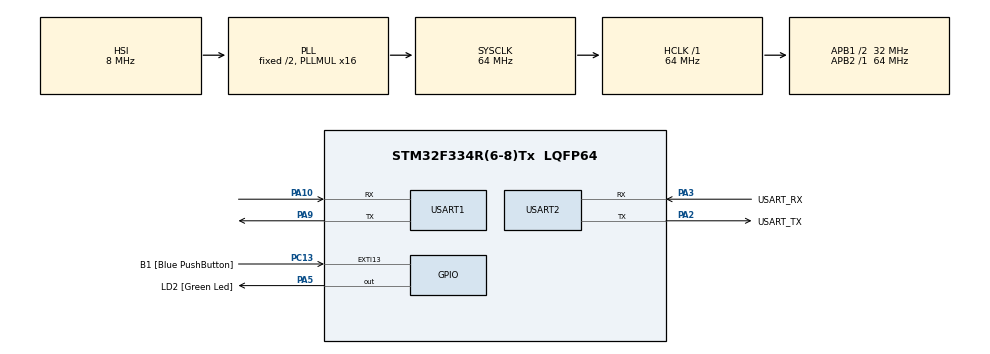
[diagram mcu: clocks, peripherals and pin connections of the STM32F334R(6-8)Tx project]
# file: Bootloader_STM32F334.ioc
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Mcu.Family=STM32F3
Mcu.Name=STM32F334R(6-8)Tx
Mcu.Package=LQFP64
NVIC.PriorityGroup=NVIC_PRIORITYGROUP_0
PA10.Mode=Asynchronous
PA10.Signal=USART1_RX
PA13.GPIO_Label=TMS
PA13.Mode=Serial_Wire
PA13.Signal=SYS_JTMS-SWDIO
PA14.GPIO_Label=TCK
PA14.Mode=Serial_Wire
PA14.Signal=SYS_JTCK-SWCLK
PA2.GPIO_Label=USART_TX
PA2.Mode=Asynchronous
PA2.Signal=USART2_TX
PA3.GPIO_Label=USART_RX
PA3.Mode=Asynchronous
PA3.Signal=USART2_RX
PA5.GPIO_Label=LD2 [Green Led]
PA5.Signal=GPIO_Output
PA9.Mode=Asynchronous
PA9.Signal=USART1_TX
PB3.GPIO_Label=SWO
PB3.Signal=SYS_JTDO-TRACESWO
PC13.GPIO_Label=B1 [Blue PushButton]
PC13.GPIO_ModeDefaultEXTI=GPIO_MODE_IT_FALLING
PC13.Signal=GPXTI13
PC14\ /\ OSC32_IN.Signal=RCC_OSC32_IN
PC15\ /\ OSC32_OUT.GPIO_Label=RCC_OSC32_OUT
PC15\ /\ OSC32_OUT.Signal=RCC_OSC32_OUT
PF0\ /\ OSC_IN.Signal=RCC_OSC_IN
PF1\ /\ OSC_OUT.Signal=RCC_OSC_OUT
ProjectManager.HeapSize=0x200
ProjectManager.StackSize=0x400
ProjectManager.TargetToolchain=SW4STM32
RCC.AHBFreq_Value=64000000
RCC.APB1CLKDivider=RCC_HCLK_DIV2
RCC.APB1Freq_Value=32000000
RCC.APB1TimFreq_Value=64000000
RCC.APB2Freq_Value=64000000
RCC.APB2TimFreq_Value=64000000
RCC.CortexFreq_Value=64000000
RCC.FLatency-AdvancedSettings=FLASH_LATENCY_2
RCC.HCLKFreq_Value=64000000
RCC.HSE_VALUE=8000000
RCC.HSI_VALUE=8000000
RCC.PLLMUL=RCC_PLL_MUL16
RCC.SYSCLKFreq_VALUE=64000000
RCC.SYSCLKSourceVirtual=RCC_SYSCLKSOURCE_PLLCLK
USART1.VirtualMode-Asynchronous=VM_ASYNC
USART2.VirtualMode-Asynchronous=VM_ASYNC
VP_CRC_VS_CRC.Mode=CRC_Activate
board=NUCLEO-F334R8

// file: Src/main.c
/**
  ******************************************************************************
  * @file           : main.c
  * @brief          : Main program body
  ******************************************************************************
  ** This notice applies to any and all portions of this file
  * that are not between comment pairs USER CODE BEGIN and
  * USER CODE END. Other portions of this file, whether
  * inserted by the user or by software development tools
  * are owned by their respective copyright owners.
  *
  * COPYRIGHT(c) 2020 STMicroelectronics
  *
  * Redistribution and use in source and binary forms, with or without modification,
  * are permitted provided that the following conditions are met:
  *   1. Redistributions of source code must retain the above copyright notice,
  *      this list of conditions and the following disclaimer.
  *   2. Redistributions in binary form must reproduce the above copyright notice,
  *      this list of conditions and the following disclaimer in the documentation
  *      and/or other materials provided with the distribution.
  *   3. Neither the name of STMicroelectronics nor the names of its contributors
  *      may be used to endorse or promote products derived from this software
  *      without specific prior written permission.
  *
  * THIS SOFTWARE IS PROVIDED BY THE COPYRIGHT HOLDERS AND CONTRIBUTORS "AS IS"
  * AND ANY EXPRESS OR IMPLIED WARRANTIES, INCLUDING, BUT NOT LIMITED TO, THE
  * IMPLIED WARRANTIES OF MERCHANTABILITY AND FITNESS FOR A PARTICULAR PURPOSE ARE
  * DISCLAIMED. IN NO EVENT SHALL THE COPYRIGHT HOLDER OR CONTRIBUTORS BE LIABLE
  * FOR ANY DIRECT, INDIRECT, INCIDENTAL, SPECIAL, EXEMPLARY, OR CONSEQUENTIAL
  * DAMAGES (INCLUDING, BUT NOT LIMITED TO, PROCUREMENT OF SUBSTITUTE GOODS OR
  * SERVICES; LOSS OF USE, DATA, OR PROFITS; OR BUSINESS INTERRUPTION) HOWEVER
  * CAUSED AND ON ANY THEORY OF LIABILITY, WHETHER IN CONTRACT, STRICT LIABILITY,
  * OR TORT (INCLUDING NEGLIGENCE OR OTHERWISE) ARISING IN ANY WAY OUT OF THE USE
  * OF THIS SOFTWARE, EVEN IF ADVISED OF THE POSSIBILITY OF SUCH DAMAGE.
  *
  ******************************************************************************
  */
#include <stdarg.h>
#include <string.h>
#include <stdint.h>

/* USER CODE BEGIN Includes */
#include "main.h"
#include "stm32f3xx_hal.h"
/* USER CODE END Includes */

// Enable this line to get debug messages over debug UART
#define BL_DEBUG_MSG_EN

CRC_HandleTypeDef hcrc;

UART_HandleTypeDef huart1;
UART_HandleTypeDef huart2;

/* USER CODE BEGIN PV */
/* Private variables ---------------------------------------------------------*/
uint8_t supported_commands[]=
{
		BL_GET_VER,
		BL_GET_HELP,
		BL_GET_CID,
		BL_GET_RDP_STATUS,
		BL_GO_TO_ADDR,
		BL_FLASH_ERASE,
		BL_MEM_WRITE,
		BL_EN_R_W_PROTECT,
		BL_EN_W_PROTECT,
		BL_MEM_READ,
		BL_READ_PAGE_PROT_STATUS,
		BL_OTP_READ,
		BL_DIS_R_W_PROTECT,
		BL_DIS_W_PROTECT
};
/* USER CODE END PV */

void SystemClock_Config(void);
static void MX_GPIO_Init(void);
static void MX_USART2_UART_Init(void);
static void MX_USART1_UART_Init(void);
static void MX_CRC_Init(void);

/* USER CODE BEGIN PFP */
/* Private function prototypes -----------------------------------------------*/
static void printmsg(char* format,...);

/* USER CODE END PFP */

/* USER CODE BEGIN 0 */
#define D_UART &huart1
#define C_UART &huart2

uint8_t bl_rx_buffer [200];

/* USER CODE END 0 */

int main(void)
{

  /* MCU Configuration----------------------------------------------------------*/

  /* Reset of all peripherals, Initializes the Flash interface and the Systick. */
	HAL_Init();

  /* Configure the system clock */
  SystemClock_Config();

  /* Initialize all configured peripherals */
  MX_GPIO_Init();
  MX_USART2_UART_Init();
  MX_USART1_UART_Init();
  MX_CRC_Init();
  /* USER CODE BEGIN 2 */

  if(HAL_GPIO_ReadPin(B1_GPIO_Port,GPIO_PIN_13)==GPIO_PIN_RESET)
  {
	  printmsg("BL_DEBUG_MSG: Button is pressed. Going to BL mode.\n\r");
	  HAL_GPIO_WritePin(LD2_GPIO_Port,LD2_Pin,GPIO_PIN_SET);
	  bootloader_uart_read_data();
  }
  else
  {
	  /* Here I have a breakpoint */
	  printmsg("BL_DEBUG_MSG: Button is not pressed. Executing user app\n\r");
	  bootloader_jump_to_user_app();
  }

  /* USER CODE END 2 */

}

void SystemClock_Config(void)
{

  RCC_OscInitTypeDef RCC_OscInitStruct;
  RCC_ClkInitTypeDef RCC_ClkInitStruct;
  RCC_PeriphCLKInitTypeDef PeriphClkInit;

    /**Initializes the CPU, AHB and APB busses clocks
    */
  RCC_OscInitStruct.OscillatorType = RCC_OSCILLATORTYPE_HSI;
  RCC_OscInitStruct.HSIState = RCC_HSI_ON;
  RCC_OscInitStruct.HSICalibrationValue = 16;
  RCC_OscInitStruct.PLL.PLLState = RCC_PLL_ON;
  RCC_OscInitStruct.PLL.PLLSource = RCC_PLLSOURCE_HSI;
  RCC_OscInitStruct.PLL.PLLMUL = RCC_PLL_MUL16;
  if (HAL_RCC_OscConfig(&RCC_OscInitStruct) != HAL_OK)
  {
    _Error_Handler(__FILE__, __LINE__);
  }

    /**Initializes the CPU, AHB and APB busses clocks
    */
  RCC_ClkInitStruct.ClockType = RCC_CLOCKTYPE_HCLK|RCC_CLOCKTYPE_SYSCLK
                              |RCC_CLOCKTYPE_PCLK1|RCC_CLOCKTYPE_PCLK2;
  RCC_ClkInitStruct.SYSCLKSource = RCC_SYSCLKSOURCE_PLLCLK;
  RCC_ClkInitStruct.AHBCLKDivider = RCC_SYSCLK_DIV1;
  RCC_ClkInitStruct.APB1CLKDivider = RCC_HCLK_DIV2;
  RCC_ClkInitStruct.APB2CLKDivider = RCC_HCLK_DIV1;

  if (HAL_RCC_ClockConfig(&RCC_ClkInitStruct, FLASH_LATENCY_2) != HAL_OK)
  {
    _Error_Handler(__FILE__, __LINE__);
  }

  PeriphClkInit.PeriphClockSelection = RCC_PERIPHCLK_USART1;
  PeriphClkInit.Usart1ClockSelection = RCC_USART1CLKSOURCE_PCLK1;
  if (HAL_RCCEx_PeriphCLKConfig(&PeriphClkInit) != HAL_OK)
  {
    _Error_Handler(__FILE__, __LINE__);
  }

    /**Configure the Systick interrupt time
    */
  HAL_SYSTICK_Config(HAL_RCC_GetHCLKFreq()/1000);

    /**Configure the Systick
    */
  HAL_SYSTICK_CLKSourceConfig(SYSTICK_CLKSOURCE_HCLK);

  /* SysTick_IRQn interrupt configuration */
  HAL_NVIC_SetPriority(SysTick_IRQn, 0, 0);
}

/* CRC init function */
static void MX_CRC_Init(void)
{

  hcrc.Instance = CRC;
  hcrc.Init.DefaultPolynomialUse = DEFAULT_POLYNOMIAL_ENABLE;
  hcrc.Init.DefaultInitValueUse = DEFAULT_INIT_VALUE_ENABLE;
  hcrc.Init.InputDataInversionMode = CRC_INPUTDATA_INVERSION_NONE;
  hcrc.Init.OutputDataInversionMode = CRC_OUTPUTDATA_INVERSION_DISABLE;
  hcrc.InputDataFormat = CRC_INPUTDATA_FORMAT_WORDS;
  if (HAL_CRC_Init(&hcrc) != HAL_OK)
  {
    _Error_Handler(__FILE__, __LINE__);
  }

}

/* USART1 init function */
static void MX_USART1_UART_Init(void)
{

  huart1.Instance = USART1;
  huart1.Init.BaudRate = 38400;
  huart1.Init.StopBits = UART_STOPBITS_1;
  huart1.Init.Parity = UART_PARITY_NONE;
  huart1.Init.Mode = UART_MODE_TX_RX;
  huart1.Init.HwFlowCtl = UART_HWCONTROL_NONE;
  huart1.Init.OverSampling = UART_OVERSAMPLING_16;
  huart1.Init.OneBitSampling = UART_ONE_BIT_SAMPLE_DISABLE;
  huart1.AdvancedInit.AdvFeatureInit = UART_ADVFEATURE_NO_INIT;
  if (HAL_UART_Init(&huart1) != HAL_OK)
  {
    _Error_Handler(__FILE__, __LINE__);
  }

}

/* USART2 init function */
static void MX_USART2_UART_Init(void)
{

  huart2.Instance = USART2;
  huart2.Init.BaudRate = 115200;
  huart2.Init.StopBits = UART_STOPBITS_1;
  huart2.Init.Parity = UART_PARITY_NONE;
  huart2.Init.Mode = UART_MODE_TX_RX;
  huart2.Init.HwFlowCtl = UART_HWCONTROL_NONE;
  huart2.Init.OverSampling = UART_OVERSAMPLING_16;
  huart2.Init.OneBitSampling = UART_ONE_BIT_SAMPLE_DISABLE;
  huart2.AdvancedInit.AdvFeatureInit = UART_ADVFEATURE_NO_INIT;
  if (HAL_UART_Init(&huart2) != HAL_OK)
  {
    _Error_Handler(__FILE__, __LINE__);
  }

}

/** Configure pins as
        * Analog
        * Input
        * Output
        * EVENT_OUT
        * EXTI
*/
static void MX_GPIO_Init(void)
{

  GPIO_InitTypeDef GPIO_InitStruct;

  /* GPIO Ports Clock Enable */
  __HAL_RCC_GPIOC_CLK_ENABLE();
  __HAL_RCC_GPIOF_CLK_ENABLE();
  __HAL_RCC_GPIOA_CLK_ENABLE();
  __HAL_RCC_GPIOB_CLK_ENABLE();

  /*Configure GPIO pin Output Level */
  HAL_GPIO_WritePin(LD2_GPIO_Port, LD2_Pin, GPIO_PIN_RESET);

  /*Configure GPIO pin : B1_Pin */
  GPIO_InitStruct.Pin = B1_Pin;
  GPIO_InitStruct.Mode = GPIO_MODE_IT_FALLING;
  GPIO_InitStruct.Pull = GPIO_NOPULL;
  HAL_GPIO_Init(B1_GPIO_Port, &GPIO_InitStruct);

  /*Configure GPIO pin : LD2_Pin */
  GPIO_InitStruct.Pin = LD2_Pin;
  GPIO_InitStruct.Mode = GPIO_MODE_OUTPUT_PP;
  GPIO_InitStruct.Pull = GPIO_NOPULL;
  GPIO_InitStruct.Speed = GPIO_SPEED_FREQ_LOW;
  HAL_GPIO_Init(LD2_GPIO_Port, &GPIO_InitStruct);

}

/* USER CODE BEGIN 4 */

void printmsg(char* format,...)
{
#ifdef BL_DEBUG_MSG_EN
	char str[80];
	/* Extract the argument list using VA apis */
	va_list args;
	va_start(args,format);
	vsprintf(str,format,args);
	HAL_UART_Transmit(D_UART,(uint8_t*)str,strlen(str),HAL_MAX_DELAY);
	va_end(args);

#endif
}

void bootloader_uart_read_data(void)
{
	uint8_t rcv_len=0;
	while(1)
	{
		memset(bl_rx_buffer,0,200);
		/* Here we will read and decode the commands coming from host
		 * First read only one byte from the host, which is the "length" field of the command packet */
		HAL_UART_Receive(C_UART, bl_rx_buffer,1,HAL_MAX_DELAY);
		rcv_len=bl_rx_buffer[0];
		HAL_UART_Receive(C_UART,&bl_rx_buffer[1],rcv_len,HAL_MAX_DELAY);
		switch(bl_rx_buffer[1])
		{
			case BL_GET_VER:
				bootloader_handle_getver_cmd(bl_rx_buffer);
				break;
			case BL_GET_HELP:
				bootloader_handle_gethelp_cmd(bl_rx_buffer);
				break;
			case BL_GET_CID:
				bootloader_handle_getcid_cmd(bl_rx_buffer);
				break;
			case BL_GET_RDP_STATUS:
				bootloader_handle_getrdp_cmd(bl_rx_buffer);
				break;
			case BL_GO_TO_ADDR:
				bootloader_handle_go_cmd(bl_rx_buffer);
				break;
			case BL_FLASH_ERASE:
				bootloader_handle_flash_erase_cmd(bl_rx_buffer);
				break;
			case BL_MEM_WRITE:
				bootloader_handle_mem_write_cmd(bl_rx_buffer);
				break;
			case BL_EN_R_W_PROTECT:
				bootloader_handle_en_r_w_protect_cmd(bl_rx_buffer);
				break;
			case BL_EN_W_PROTECT:
				bootloader_handle_en_w_protect_cmd(bl_rx_buffer);
				break;
			case BL_MEM_READ:
				bootloader_handle_mem_read_cmd(bl_rx_buffer);
				break;
			case BL_READ_PAGE_PROT_STATUS:
				bootloader_handle_read_page_prot_status_cmd(bl_rx_buffer);
				break;
			case BL_OTP_READ:
				bootloader_handle_read_otp_cmd(bl_rx_buffer);
				break;
			case BL_DIS_R_W_PROTECT:
				bootloader_handle_dis_r_w_protect_cmd(bl_rx_buffer);
				break;
			case BL_DIS_W_PROTECT:
				bootloader_handle_dis_w_protect_cmd(bl_rx_buffer);
				break;
			default:
				printmsg("BL_DEBUG_MSG: Invalid command code received from host\r\n");
				break;
		}
	}
}

void bootloader_jump_to_user_app(void)
{
	// Just a function pointer to hold the address of the reset handler of the user app
	void(*app_reset_handler)(void);

	printmsg("BL_DEBUG_MSG: bootloader_jump_to_user_app\n\r");

	// 1. Configure the MSP by reading the value from the base address of the page 2
	uint32_t msp_value = *(volatile uint32_t*) FLASH_PAGE16_BASE_ADDRESS;
	printmsg("BL_DEBUG_MSG: MSP value: %#x\n\r", msp_value);

	/* 2. Now fetch the reset handler address of the user application
	 * from the location FLASH_PAGE16_BASE_ADDRESS+4 */
	uint32_t resethandler_address = *(uint32_t*) (FLASH_PAGE16_BASE_ADDRESS+4);
	app_reset_handler=(void*)resethandler_address;
	printmsg("BL_DEBUG_MSG: app reset handler addr: %#x\n\r",app_reset_handler);

	// This function comes from CMSIS
	//__set_MSP(msp_value);

	//SCB -> VTOR = FLASH_PAGE16_BASE_ADDRESS;

	HAL_GPIO_WritePin(LD2_GPIO_Port,LD2_Pin,0);
	// 3. Jump to reset handler of the user application
	app_reset_handler();
}

/* USER CODE END 4 */

void _Error_Handler(char *file, int line)
{
  while(1)
  {
  }
}

/* Implementation of Boot-loader Command Handle functions */

/* It shows the version of the bootloader */
void bootloader_handle_getver_cmd(uint8_t* bl_rx_buffer)
{
	uint8_t bl_version;
	// 1) Verify the checksum
	printmsg("BL_DEBUG_MSG: bootloader_handle_getver_cmd\n\r");

	// Total length of the command packet
	uint32_t command_packet_len=bl_rx_buffer[0]+1;

	// Extract the CRC32 sent by the Host
	uint32_t host_crc = *((uint32_t*) (bl_rx_buffer+command_packet_len-4));

	if(!bootloader_verify_crc(&bl_rx_buffer[0],command_packet_len-4,host_crc))
	{
		printmsg("BL_DEBUG_MSG: Checksum success!\n\r");
		// Checksum is correct
		bootloader_send_ack(1);
		bl_version=get_bootloader_version();
		printmsg("BL_DEBUG_MSG: BL_VER: %d %#x\n",bl_version,bl_version);
		bootloader_uart_write_data(&bl_version,1);
	}
	else
	{
		printmsg("BL_DEBUG_MSG: Checksum fail!\n\r");
		// Checksum is wrong. Send nack
		bootloader_send_nack();
	}
}

/* Bootloader sends out all supported command codes */
void bootloader_handle_gethelp_cmd(uint8_t* bl_rx_buffer)
{
	printmsg("BL_DEBUG_MSG: bootloader_handle_gethelp_cmd\n\r");

	// Total length of the command packet
	uint32_t command_packet_len=bl_rx_buffer[0]+1;

	// Extract the CRC32 sent by the Host
	uint32_t host_crc = *((uint32_t*) (bl_rx_buffer+command_packet_len-4));

	if(!bootloader_verify_crc(bl_rx_buffer,command_packet_len-4,host_crc))
	{
		printmsg("BL_DEBUG_MSG: Checksum success!\n\r");
		// Checksum is correct
		bootloader_send_ack(sizeof(supported_commands));
		bootloader_uart_write_data(supported_commands,sizeof(supported_commands));
	}
	else
	{
		printmsg("BL_DEBUG_MSG: Checksum fail!\n\r");
		// Checksum is wrong. Send nack
		bootloader_send_nack();
	}
}

/* Gets the chip identification number */
void bootloader_handle_getcid_cmd(uint8_t* bl_rx_buffer)
{
	uint16_t bl_cid_number=0;
	printmsg("BL_DEBUG_MSG: bootloader_handle_getcid_cmd\n\r");

	// Total length of the command packet
	uint32_t command_packet_len=bl_rx_buffer[0]+1;

	// Extract the CRC32 sent by the Host
	uint32_t host_crc = *((uint32_t*) (bl_rx_buffer+command_packet_len-4));

	if(!bootloader_verify_crc(bl_rx_buffer,command_packet_len-4,host_crc))
	{
		printmsg("BL_DEBUG_MSG: Checksum success!\n\r");
		// Checksum is correct
		bootloader_send_ack(2);
		bl_cid_number=get_mcu_chip_id();
		printmsg("BL_DEBUG_MSG: MCU id: %d %#x!\r\n",bl_cid_number,bl_cid_number);
		bootloader_uart_write_data((uint8_t*)&bl_cid_number,2);
	}
	else
	{
		printmsg("BL_DEBUG_MSG: Checksum fail!\n\r");
		// Checksum is wrong. Send nack
		bootloader_send_nack();
	}
}

/* Gets the read protection status */
void bootloader_handle_getrdp_cmd(uint8_t* bl_rx_buffer)
{
	uint8_t rdp_level[2]={0,0};
	printmsg("BL_DEBUG_MSG: bootloader_handle_getrdp_cmd\n\r");

	// Total length of the command packet
	uint32_t command_packet_len=bl_rx_buffer[0]+1;

	// Extract the CRC32 sent by the Host
	uint32_t host_crc = *((uint32_t*) (bl_rx_buffer+command_packet_len-4));

	if(!bootloader_verify_crc(bl_rx_buffer,command_packet_len-4,host_crc))
	{
		printmsg("BL_DEBUG_MSG: Checksum success!\n\r");
		// Checksum is correct
		bootloader_send_ack(2);
		get_flash_rdp_level(rdp_level);
		printmsg("BL_DEBUG_MSG: RDP level: %d %#x!\r\n",rdp_level[0],rdp_level[0]);
		bootloader_uart_write_data(rdp_level,2);
	}
	else
	{
		printmsg("BL_DEBUG_MSG: Checksum fail!\n\r");
		// Checksum is wrong. Send nack
		bootloader_send_nack();
	}
}

/* Goes to the direction we specify */
void bootloader_handle_go_cmd(uint8_t* bl_rx_buffer)
{
	uint32_t go_address=0;
	uint8_t addr_valid=ADDR_VALID;
	uint8_t addr_invalid=ADDR_INVALID;

	printmsg("BL_DEBUG_MSG: bootloader_handle_go_cmd\n\r");

	// Total length of the command packet
	uint32_t command_packet_len=bl_rx_buffer[0]+1;

	// Extract the CRC32 sent by the Host
	uint32_t host_crc = *((uint32_t*) (bl_rx_buffer+command_packet_len-4));

	if(!bootloader_verify_crc(bl_rx_buffer,command_packet_len-4,host_crc))
	{
		printmsg("BL_DEBUG_MSG: Checksum success!\n\r");
		// Checksum is correct
		bootloader_send_ack(1);
		/* Extract the go address */
		go_address = *((uint32_t*)&bl_rx_buffer[2]);
		printmsg("BL_DEBUG_MSG: GO addr: %#x!\r\n",go_address);
		if(verify_address(go_address)==ADDR_VALID)
		{
			/* Tell the host that address is fine */
			bootloader_uart_write_data(&addr_valid,1);

			/* Jump to "go" address.
			 * we don't care what is being done ther.
			 * Host must ensure that valid code is present over there.
			 * It's not th
			 * e duty of bootloader. So just trust and jump */

			/* Not doing the below line will result in hardfault exception for ARM Cortex M */

			/* Since the Cortex-M processors don't support the ARM instruction set,
			 * but only Thumb instruction set the T bit must always be 1, which
			 * is linked to the 0th bit of the PC */
			go_address+=1; /* Make T bit = 1 */
			void(*lets_jump)(void)=(void*)go_address;
			printmsg("BL_DEBUG_MSG: Jumping to go address!\r\n");
			HAL_GPIO_WritePin(LD2_GPIO_Port,LD2_Pin,0);
			lets_jump();
		}
		else
		{
            printmsg("BL_DEBUG_MSG: GO addr invalid ! \n");
            //tell host that address is invalid
            bootloader_uart_write_data(&addr_invalid,1);
		}
	}
	else
	{
		printmsg("BL_DEBUG_MSG: Checksum fail!\n\r");
		// Checksum is wrong. Send nack
		bootloader_send_nack();
	}
}

/* Erases a specified portion of the Flash memory */
void bootloader_handle_flash_erase_cmd(uint8_t* bl_rx_buffer)
{
	uint8_t erase_status=0x00;
	printmsg("BL_DEBUG_MSG: bootloader_handle_flash_erase_cmd\n\r");

	// Total length of the command packet
	uint32_t command_packet_len=bl_rx_buffer[0]+1;

	// Extract the CRC32 sent by the Host
	uint32_t host_crc = *((uint32_t*) (bl_rx_buffer+command_packet_len-4));

	if(!bootloader_verify_crc(bl_rx_buffer,command_packet_len-4,host_crc))
	{
		printmsg("BL_DEBUG_MSG: Checksum success!\n\r");
		// Checksum is correct
		bootloader_send_ack(1);
		printmsg("BL_DEBUG_MSG: Initial page: %d no_of_pages: %d\n\r",bl_rx_buffer[2],bl_rx_buffer[3]);

		HAL_GPIO_WritePin(LD2_GPIO_Port,LD2_Pin,0);
		erase_status = execute_flash_erase(bl_rx_buffer[2],bl_rx_buffer[3]);
		HAL_GPIO_WritePin(LD2_GPIO_Port,LD2_Pin,1);

		bootloader_uart_write_data(&erase_status,1);
		printmsg("BL_DEBUG_MSG: Flash erase status: %#x\r\n",erase_status);
	}
	else
	{
		printmsg("BL_DEBUG_MSG: Checksum fail!\n\r");
		// Checksum is wrong. Send nack
		bootloader_send_nack();
	}
}

/* Writes a specified portion of the Flash memory */
void bootloader_handle_mem_write_cmd(uint8_t* bl_rx_buffer)
{
	uint8_t write_status=0x00;
	uint8_t payload_len=bl_rx_buffer[6];

	uint32_t mem_address=*((uint32_t*)(&bl_rx_buffer[2]));

	printmsg("BL_DEBUG_MSG: bootloader_handle_mem_write_cmd\n\r");

	// Total length of the command packet
	uint32_t command_packet_len=bl_rx_buffer[0]+1;

	// Extract the CRC32 sent by the Host
	uint32_t host_crc = *((uint32_t*) (bl_rx_buffer+command_packet_len-4));

	if(!bootloader_verify_crc(bl_rx_buffer,command_packet_len-4,host_crc))
	{
		printmsg("BL_DEBUG_MSG: Checksum success!\n\r");
		// Checksum is correct
		bootloader_send_ack(1);
		printmsg("BL_DEBUG_MSG: Mem write address: %#x\n\r",mem_address);
		if(verify_address(mem_address)==ADDR_VALID)
		{
			printmsg("BL_DEBUG_MSG: Valid mem write address\n\r");
			HAL_GPIO_WritePin(LD2_GPIO_Port,LD2_Pin,0);
			write_status = execute_mem_write((uint16_t*)&bl_rx_buffer[7],mem_address,payload_len);
			HAL_GPIO_WritePin(LD2_GPIO_Port,LD2_Pin,1);
			bootloader_uart_write_data(&write_status,1);
		}
		else
		{
			printmsg("BL_DEBUG_MSG: Invalid mem write address\n\r");
			write_status=ADDR_INVALID;
			/* Inform host that address is invalid */
			bootloader_uart_write_data(&write_status,1);
		}
	}
	else
	{
		printmsg("BL_DEBUG_MSG: Invalid mem write address\n\r");
		// Checksum is wrong. Send nack
		bootloader_send_nack();
	}
}

/* Enables Read and Write protections of the flash memory */
void bootloader_handle_en_r_w_protect_cmd(uint8_t* bl_rx_buffer)
{
	uint8_t status=0x00;
	printmsg("BL_DEBUG_MSG: bootloader_handle_en_r_w_protect_cmd\n\r");

	// Total length of the command packet
	uint32_t command_packet_len=bl_rx_buffer[0]+1;

	// Extract the CRC32 sent by the Host
	uint32_t host_crc = *((uint32_t*) (bl_rx_buffer+command_packet_len-4));

	if(!bootloader_verify_crc(bl_rx_buffer,command_packet_len-4,host_crc))
	{
		printmsg("BL_DEBUG_MSG: Checksum success!\n\r");
		// Checksum is correct
		bootloader_send_ack(1);

		status=configure_flash_page_r_protection(0);

		printmsg("BL_DEBUG_MSG: Configure flash protection status: %#x\n\r",status);

		bootloader_uart_write_data(&status,1);
	}
	else
	{
		printmsg("BL_DEBUG_MSG: Checksum fail\n\r");
		// Checksum is wrong. Send nack
		bootloader_send_nack();
	}
}

/* Enables Write protection of the flash memory */
void bootloader_handle_en_w_protect_cmd(uint8_t* bl_rx_buffer)
{
	uint8_t status=0x00;
	uint16_t page_details;
	printmsg("BL_DEBUG_MSG: bootloader_handle_en_w_protect_cmd\n\r");

	// Total length of the command packet
	uint32_t command_packet_len=bl_rx_buffer[0]+1;

	// Extract the CRC32 sent by the Host
	uint32_t host_crc = *((uint32_t*) (bl_rx_buffer+command_packet_len-4));

	if(!bootloader_verify_crc(bl_rx_buffer,command_packet_len-4,host_crc))
	{
		printmsg("BL_DEBUG_MSG: Checksum success!\n\r");
		// Checksum is correct
		bootloader_send_ack(1);

		page_details=(bl_rx_buffer[3]<<8)|(bl_rx_buffer[2]);
		status=configure_flash_page_w_protection(page_details,0);

		printmsg("BL_DEBUG_MSG: Configure flash protection status: %#x\n\r",status);

		bootloader_uart_write_data(&status,1);
	}
	else
	{
		printmsg("BL_DEBUG_MSG: Checksum fail\n\r");
		// Checksum is wrong. Send nack
		bootloader_send_nack();
	}
}

void bootloader_handle_mem_read_cmd(uint8_t* bl_rx_buffer)
{

}

void bootloader_handle_read_page_prot_status_cmd(uint8_t* bl_rx_buffer)
{

}

void bootloader_handle_read_otp_cmd(uint8_t* bl_rx_buffer)
{

}

/* Disables Read protection of the flash memory */
void bootloader_handle_dis_r_w_protect_cmd(uint8_t* bl_rx_buffer)
{
	uint8_t status=0x00;
	printmsg("BL_DEBUG_MSG: bootloader_handle_dis_r_protect_cmd\n\r");

	// Total length of the command packet
	uint32_t command_packet_len=bl_rx_buffer[0]+1;

	// Extract the CRC32 sent by the Host
	uint32_t host_crc = *((uint32_t*) (bl_rx_buffer+command_packet_len-4));

	if(!bootloader_verify_crc(bl_rx_buffer,command_packet_len-4,host_crc))
	{
		printmsg("BL_DEBUG_MSG: Checksum success!\n\r");
		// Checksum is correct
		bootloader_send_ack(1);

		status=configure_flash_page_r_protection(1);
	}
	else
	{
		printmsg("BL_DEBUG_MSG: Checksum fail\n\r");
		// Checksum is wrong. Send nack
		bootloader_send_nack();
	}
}

/* Disables Write protection of the flash memory */
void bootloader_handle_dis_w_protect_cmd(uint8_t* bl_rx_buffer)
{
	uint16_t page_details;
	uint8_t status=0x00;
	printmsg("BL_DEBUG_MSG: bootloader_handle_dis_w_protect_cmd\n\r");

	// Total length of the command packet
	uint32_t command_packet_len=bl_rx_buffer[0]+1;

	// Extract the CRC32 sent by the Host
	uint32_t host_crc = *((uint32_t*) (bl_rx_buffer+command_packet_len-4));

	if(!bootloader_verify_crc(bl_rx_buffer,command_packet_len-4,host_crc))
	{
		printmsg("BL_DEBUG_MSG: Checksum success!\n\r");
		// Checksum is correct
		bootloader_send_ack(1);

		page_details=(bl_rx_buffer[3]<<8)|(bl_rx_buffer[2]);
		status=configure_flash_page_w_protection(page_details,1);

		printmsg("BL_DEBUG_MSG: Configure flash protection status: %#x\n\r",status);

		bootloader_uart_write_data(&status,1);
	}
	else
	{
		printmsg("BL_DEBUG_MSG: Checksum fail\n\r");
		// Checksum is wrong. Send nack
		bootloader_send_nack();
	}
}

/* This function sends ACK if CRC matches along with "length to follow" */
void bootloader_send_ack(uint8_t follow_len)
{
	// Here we send 2 bytes. The first one is ACK, and the second one is the length value
	uint8_t ack_buf[2];
	ack_buf[0]=BL_ACK;
	ack_buf[1]=follow_len;
	HAL_UART_Transmit(C_UART,ack_buf,2,HAL_MAX_DELAY);
}

void bootloader_send_nack(void)
{
	uint8_t nack=BL_NACK;
	HAL_UART_Transmit(C_UART,&nack,1,HAL_MAX_DELAY);
}

/* This verifies the CRC of the given buffer in pData */
uint8_t bootloader_verify_crc(uint8_t* pData,uint32_t len, uint32_t crc_host)
{
	uint32_t uwCRCValue=0xFF;
	/* Reset CRC Calculation Unit */
	__HAL_CRC_DR_RESET(&hcrc);
	for(uint32_t i=0; i<len; i++)
	{
		uint32_t i_data=pData[i];
		uwCRCValue=HAL_CRC_Accumulate(&hcrc,&i_data,1);
	}
	if(uwCRCValue==crc_host)
	{
		return VERIFY_CRC_SUCCESS;
	}
	return VERIFY_CRC_FAIL;
}

/* This function writes data in to C_UART */
void bootloader_uart_write_data(uint8_t* pBuffer, uint32_t len)
{
	/* You can replace the below ST's USART driver API call with your MCU's driver API call */
	HAL_UART_Transmit(C_UART,pBuffer,len,HAL_MAX_DELAY);
}

/* Just returns the macro value */
uint8_t get_bootloader_version(void)
{
	return (uint8_t)BL_VERSION;
}

/* Read the chip identifier or device identifier */
uint16_t get_mcu_chip_id(void)
{
	/* The STM32F334XX MCUs integrate an MCU ID code. This ID identifies the ST MCU part number
	 * and the die revision. It is part of the DBG_MCU component and is mapped on the
	 * external PPB bus (see Section 31.15 on page 1111). This code is accessible using the
	 * JTAG debug port (4 to 5 pins) or the SW debug port (two pins) or by the user software
	 * It is even accessible while the MCU is under system reset. */
	uint16_t cid;
	cid=(uint16_t)(DBGMCU->IDCODE)&0x0FFF;
	return cid;
}

/* Get the read protection status */
void get_flash_rdp_level(uint8_t* rdp_level)
{
	volatile uint32_t* pOB_addr=(uint32_t*) 0x1FFFF800;
	if(((FLASH->OBR>>1)&0x00000003)==0)
	{
		rdp_level[0]=0xAA;
	}
	else if(((FLASH->OBR>>1)&0x00000003)==1)
	{
		rdp_level[0]=0xFF;
	}
	else
	{
		rdp_level[0]=0xCC;
	}
	rdp_level[1]=(uint8_t)(*pOB_addr);
}

/* Verify the address sent by the host */
uint8_t verify_address(uint32_t go_address)
{
	/* What are the valid addresses to which we can jump?
	 * Can we jump to system memory? Yes
	 * Can we jump to SRAM1 memory? Yes
	 * Can we jump to Backup registers? Yes
	 * Can we jump to peripheral memory? It's possible, but not allowed, so no
	 * Can we jump to external memory? Yes */

	/* Incomplete -poorly written.. optimize it */
	if(go_address>= SRAM_BASE&&go_address<=SRAM_END)
	{
		return ADDR_VALID;
	}
	else if(go_address>= FLASH_BASE&&go_address<=FLASH_END)
	{
		return ADDR_VALID;
	}
	else if(go_address>= SYSTEM_MEMORY_BASE&&go_address<=SYSTEM_MEMORY_END)
	{
		return ADDR_VALID;
	}
	else
	{
		return ADDR_INVALID;
	}
}

uint8_t execute_flash_erase(uint8_t page_number, uint8_t number_of_pages)
{
	/* We have totally 32 pages (0 to 31) in STM32F334 MCU
	 * number_of_pages has to be in the range of 0 to 31
	 * If page_number=0xFF, that means mass erase!
	 * Code needs to be modified if your MCU supports more flash pages/sectors */
	FLASH_EraseInitTypeDef flashErase_handle;
	uint32_t pageError;
	HAL_StatusTypeDef status;

	if(number_of_pages>32)
	{
		return INVALID_PAGE;
	}
	if((page_number==0xFF)||(page_number<=31))
	{
		if(page_number==(uint8_t)0xFF)
		{
			flashErase_handle.TypeErase=FLASH_TYPEERASE_MASSERASE;
		}
		else
		{
			/* Here we are just calculating how many pages need to be erased */
			uint8_t remaining_pages = 32-page_number;
			if(number_of_pages>remaining_pages)
			{
				number_of_pages=remaining_pages;
			}
			flashErase_handle.TypeErase=FLASH_TYPEERASE_PAGES;
			flashErase_handle.PageAddress=(FLASH_BASE+2*1024*page_number);
			flashErase_handle.NbPages=number_of_pages;
		}
		/* Get access to touch the flash registers */
		HAL_FLASH_Unlock();
		status=(uint8_t)HAL_FLASHEx_Erase(&flashErase_handle,&pageError);
		HAL_FLASH_Lock();
		return status;
	}
	return INVALID_PAGE;
}

/* This function writes the contents of pBuffer to "mem_address" byte by byte */
/* Note1: Currently this function supports writeing to Flash only */
/* Note2_ This functions don't check whether "mem_address" is a valid address of the Flash range */
uint8_t execute_mem_write(uint16_t* pBuffer, uint32_t mem_address, uint8_t len)
{
	uint8_t status=HAL_OK;
	/* We have to unlock flash module to get control of registers */
	HAL_FLASH_Unlock();
	for(uint8_t i=0;i<len;i+=2)
	{
		/* Here we program the flash byte by byte */
		status=HAL_FLASH_Program(FLASH_TYPEPROGRAM_HALFWORD,mem_address+i,pBuffer[i/2]);
	}
	HAL_FLASH_Lock();
	return status;
}

void configure_flash_protection(uint8_t rw, uint16_t description,uint8_t disable)
{
	volatile uint16_t* pWP1 = (uint16_t*)0x1FFFF80A;
	volatile uint16_t* pWP0 = (uint16_t*)0x1FFFF808;
	volatile uint16_t* pRDP = (uint16_t*)0x1FFFF800;
	//volatile uint32_t* pOB_addr = (uint32_t*) 0x1FFFF800;
	//uint8_t RDP_State = (uint8_t)(*pOB_addr);

	// Disable all R/W protection on pages

	/* Wait till no active operation on flash */
	while(__HAL_FLASH_GET_FLAG(FLASH_FLAG_BSY)!=RESET);

	/* 1. Unlock flash */
	HAL_FLASH_Unlock();
	/* Wait till no active operation on flash */
	while(__HAL_FLASH_GET_FLAG(FLASH_FLAG_BSY)!=RESET);
	/* 2. Option byte configuration unlock */
	HAL_FLASH_OB_Unlock();
	/* Wait till no active operation on flash */
	while(__HAL_FLASH_GET_FLAG(FLASH_FLAG_BSY)!=RESET);

	/* 3. Erase option bytes by setting OPTER bit and after that STRT bit */
	FLASH->CR |= (1<<5);
	/* Wait till no active operation on flash */
	while(__HAL_FLASH_GET_FLAG(FLASH_FLAG_BSY)!=RESET);
	FLASH->CR |= (1<<6);
	/* Wait till no active operation on flash */
	while(__HAL_FLASH_GET_FLAG(FLASH_FLAG_BSY)!=RESET);

	/* 4. After the erasure is complete, reset the OPTER bit */
	FLASH->CR &= ~(1<<5);
	/* Wait till no active operation on flash */
	while(__HAL_FLASH_GET_FLAG(FLASH_FLAG_BSY)!=RESET);

	/* 5. Set the OPTPG bit to allow programming option bytes */
	FLASH->CR |= (1<<4);
	/* Wait till no active operation on flash */
	while(__HAL_FLASH_GET_FLAG(FLASH_FLAG_BSY)!=RESET);

	/* 6. */
	if((rw==0)&&(disable==0))
	{
		/* Here we are setting write protection for the pages */

		/* Put write protection on pages */
		*pWP1=(~((uint16_t)(0x00FF&(description>>8))))&((uint16_t)((FLASH->WRPR>>8)&0x000000FF));
		/* Wait till no active operation on flash */
		while(__HAL_FLASH_GET_FLAG(FLASH_FLAG_BSY)!=RESET);
		*pWP0=(~((uint16_t)(0x00FF&description)))&((uint16_t)(FLASH->WRPR&0x000000FF));
		/* Wait till no active operation on flash */
		while(__HAL_FLASH_GET_FLAG(FLASH_FLAG_BSY)!=RESET);
		if(((FLASH->OBR>>1)&0x00000003)==0x0)
		{
			*pRDP=(uint16_t)0xAA;
		}
		else
		{
			*pRDP=(uint16_t)0xFF;
		}
	}
	else if((rw==0)&&(disable==1))
	{
		/* Here we are disabling write protection for the pages */

		/* Put write protection on pages */
		*pWP1=((uint16_t)(0x00FF&(description>>8)))|((uint16_t)((FLASH->WRPR>>8)&0x000000FF));
		/* Wait till no active operation on flash */
		while(__HAL_FLASH_GET_FLAG(FLASH_FLAG_BSY)!=RESET);
		*pWP0=((uint16_t)(0x00FF&description))|((uint16_t)(FLASH->WRPR&0x000000FF));
		/* Wait till no active operation on flash */
		while(__HAL_FLASH_GET_FLAG(FLASH_FLAG_BSY)!=RESET);
		if(((FLASH->OBR>>1)&0x00000003)==0x0)
		{
			*pRDP=(uint16_t)0xAA;
		}
		else
		{
			*pRDP=(uint16_t)0xFF;
		}
	}
	else if((rw==1)&&(disable==0))
	{
		/* Here we are enabling read protection for the flash */
		*pRDP=(uint16_t)0xFF;
		/* Wait till no active operation on flash */
		while(__HAL_FLASH_GET_FLAG(FLASH_FLAG_BSY)!=RESET);
		*pWP1=(uint16_t)((FLASH->WRPR>>8)&0x000000FF);
		/* Wait till no active operation on flash */
		while(__HAL_FLASH_GET_FLAG(FLASH_FLAG_BSY)!=RESET);
		*pWP0=(uint16_t)(FLASH->WRPR&0x000000FF);
	}
	else if((rw==1)&&(disable==1))
	{
		uint8_t status=0;
		printmsg("BL_DEBUG_MSG: Configure flash protection status: %#x\n\r",status);
		bootloader_uart_write_data(&status,1);
		/* Here we are disabling read protection for the pages.
		 * When read protection is disabled a POR should be done */
		/* The write protections are obviously implicitly disabled */
		*pRDP=(uint16_t)0xAA;
	}
	else
	{

	}
	/* Wait till no active operation on flash */
	while(__HAL_FLASH_GET_FLAG(FLASH_FLAG_BSY) != RESET);

	/* 7. Reset the OPTPG bit to complete/close programming option bytes */
	FLASH->CR &= ~(1<<4);
	/* Wait till no active operation on flash */
	while(__HAL_FLASH_GET_FLAG(FLASH_FLAG_BSY) != RESET);

	/* 8. (Optional) Launch/Apply the Option bytes (OBL_LAUNCH bit is set-system reset will be performed after this) */
	//FLASH->CR |= (1<<13);
	/* Wait till no active operation on flash */
	//while(__HAL_FLASH_GET_FLAG(FLASH_FLAG_BSY) != RESET);

	/* 9. Lock option bytes (OPTWRE is reset) */
	HAL_FLASH_OB_Lock();
	/* Wait till no active operation on flash */
	while(__HAL_FLASH_GET_FLAG(FLASH_FLAG_BSY) != RESET);

	/* 10. Lock the Flash (LOCK bit is set) */
	HAL_FLASH_Lock();
	/* Wait till no active operation on flash */
	while(__HAL_FLASH_GET_FLAG(FLASH_FLAG_BSY) != RESET);
}

uint8_t configure_flash_page_r_protection(uint8_t disable)
{
	configure_flash_protection(1,0,disable);
	return 0;
}

uint8_t configure_flash_page_w_protection(uint16_t page_details, uint8_t disable)
{
	configure_flash_protection(0,page_details,disable);
	return 0;
}

/************************ (C) COPYRIGHT STMicroelectronics *****END OF FILE****/
